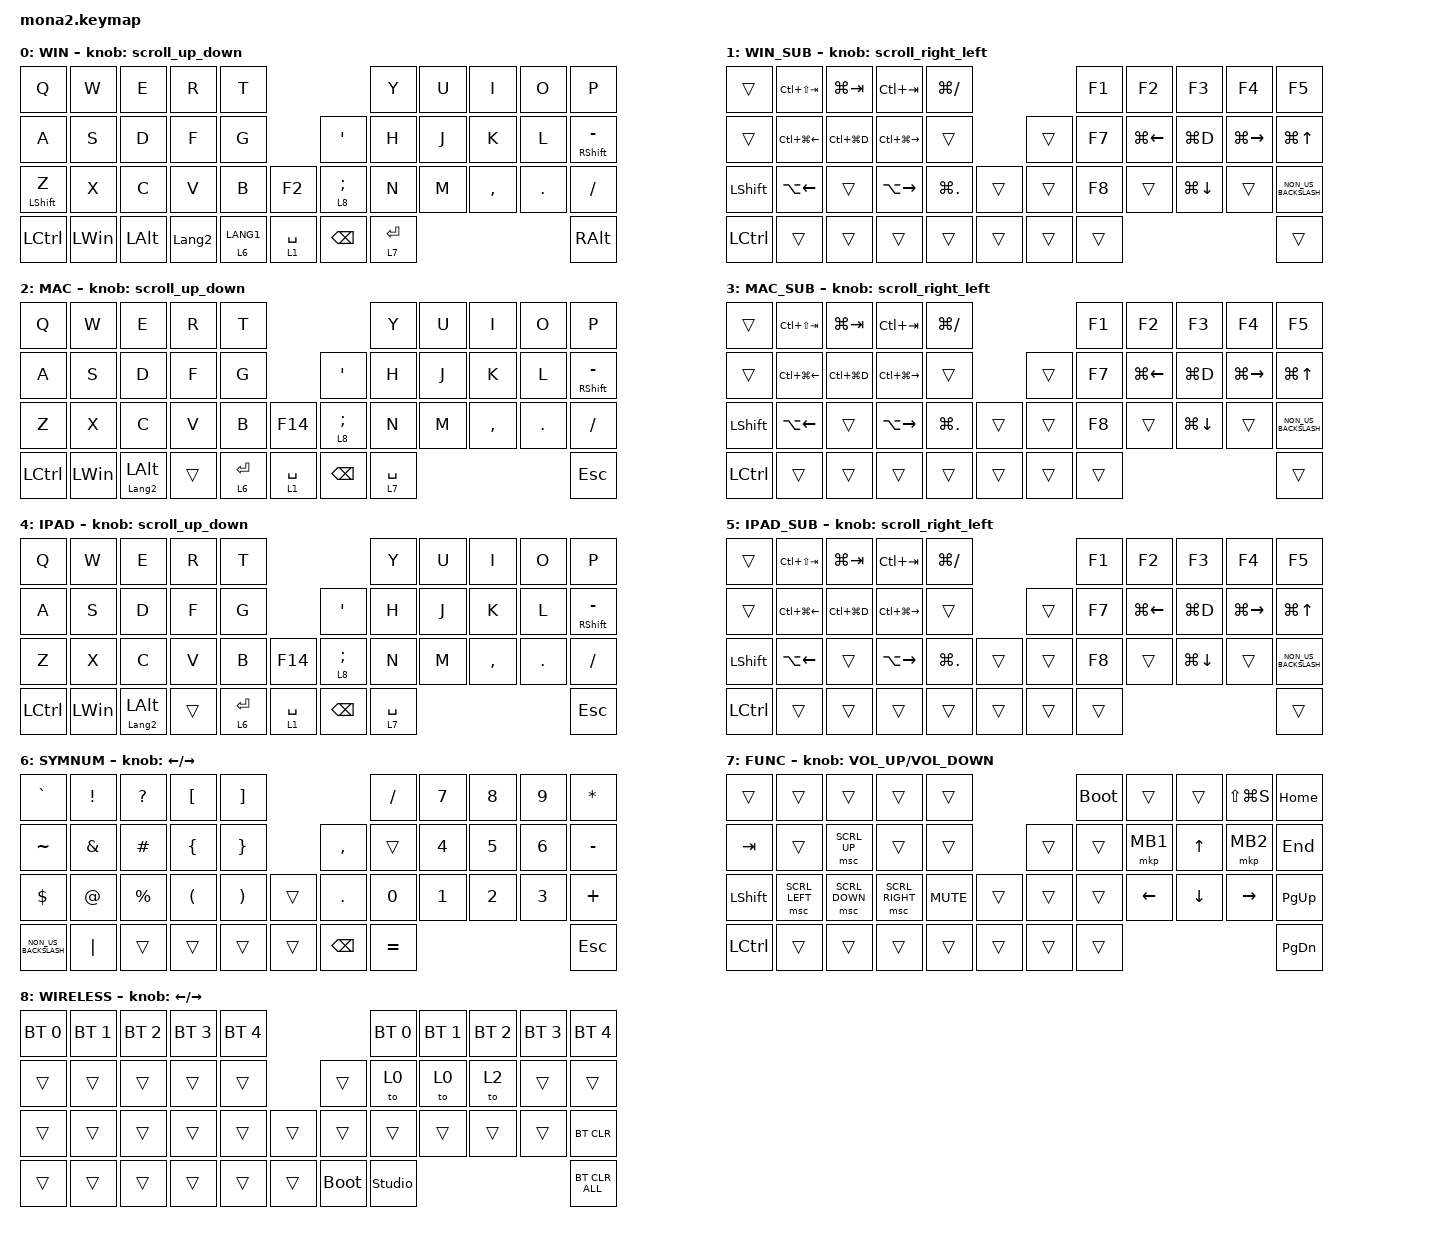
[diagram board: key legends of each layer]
#include <input/processors.dtsi>
#include <dt-bindings/zmk/input_transform.h>
#include <zephyr/dt-bindings/input/input-event-codes.h>
#include <behaviors.dtsi>
#include <dt-bindings/zmk/bt.h>
#include <dt-bindings/zmk/keys.h>
#include <dt-bindings/zmk/pointing.h>

#define ZMK_POINTING_DEFAULT_SCRL_VAL 100
#define MOUSE 5
#define SCROLL 6

&mt {
    flavor = "balanced";
    quick-tap-ms = <0>;
};

&lt {
    quick-tap-ms = <300>;
    flavor = "balanced";
};

/ {
    combos {
        compatible = "zmk,combos";

        esc {
            bindings = <&kp ESCAPE>;
            key-positions = <39 38>;
        };

        tab {
            bindings = <&kp TAB>;
            key-positions = <11 12>;
        };

        DeleteKey {
            bindings = <&kp DELETE>;
            key-positions = <7 8>;
        };

        InsertKey {
            bindings = <&kp INSERT>;
            key-positions = <6 7>;
        };

        LeftClick {
            bindings = <&mkp MB1>;
            key-positions = <17 18>;
        };

        RightClick {
            bindings = <&mkp MB2>;
            key-positions = <18 19>;
        };

        CenterClick {
            bindings = <&mkp MB3>;
            key-positions = <19 20>;
        };

        PrevClick {
            bindings = <&mkp MB4>;
            key-positions = <29 30>;
        };

        ClickNext {
            bindings = <&mkp MB5>;
            key-positions = <30 31>;
        };
    };

    macros {
        to_layer_0: to_layer_0 {
            compatible = "zmk,behavior-macro-one-param";
            #binding-cells = <1>;
            bindings = <&to 0 &macro_param_1to1 &kp MACRO_PLACEHOLDER>;
            label = "TO_LAYER_0";
        };
    };

    behaviors {
        lt_to_layer_0: lt_to_layer_0 {
            compatible = "zmk,behavior-hold-tap";
            label = "LAYER_TAP_TO_0";
            bindings = <&mo>, <&to_layer_0>;

            #binding-cells = <2>;
            tapping-term-ms = <200>;
        };

        scroll_up_down: mouse_wheel_up_down {
            compatible = "zmk,behavior-sensor-rotate";
            #sensor-binding-cells = <0>;
            bindings = <&msc SCRL_UP>, <&msc SCRL_DOWN>;

            tap-ms = <20>;
            label = "scroll_up_down";
        };

        scroll_right_left: mouse_wheel_right_left {
            compatible = "zmk,behavior-sensor-rotate";
            #sensor-binding-cells = <0>;
            bindings = <&msc SCRL_LEFT>, <&msc SCRL_RIGHT>;

            tap-ms = <20>;
            label = "scroll_right_left";
        };
    };

    keymap {
        compatible = "zmk,keymap";

        WIN {
            bindings = <
&kp Q             &kp W         &kp E         &kp R           &kp T                                        &kp Y        &kp U  &kp I      &kp O    &kp P
&kp A             &kp S         &kp D         &kp F           &kp G                       &kp SQT          &kp H        &kp J  &kp K      &kp L    &mt RIGHT_SHIFT MINUS
&mt LEFT_SHIFT Z  &kp X         &kp C         &kp V           &kp B        &kp F2         &lt 8 SEMICOLON  &kp N        &kp M  &kp COMMA  &kp DOT  &kp SLASH
&kp LCTRL         &kp LEFT_WIN  &kp LEFT_ALT  &kp LANGUAGE_2  &lt 6 LANG1  &lt 1 SPACE    &kp BACKSPACE    &lt 7 ENTER                             &kp RIGHT_ALT
            >;

            sensor-bindings = <&scroll_up_down>;
        };

        WIN_SUB {
            bindings = <
&trans          &kp LC(LS(TAB))         &kp LG(TAB)    &kp LC(TAB)              &kp LG(SLASH)                     &kp F1  &kp F2              &kp F3              &kp F4               &kp F5
&trans          &kp LC(LG(LEFT_ARROW))  &kp LC(LG(D))  &kp LC(LG(RIGHT_ARROW))  &trans                    &trans  &kp F7  &kp LG(LEFT_ARROW)  &kp LG(D)           &kp LG(RIGHT_ARROW)  &kp LG(UP_ARROW)
&kp LEFT_SHIFT  &kp LA(LEFT_ARROW)      &trans         &kp LA(RIGHT_ARROW)      &kp LG(PERIOD)  &trans    &trans  &kp F8  &trans              &kp LG(DOWN_ARROW)  &trans               &kp NON_US_BACKSLASH
&kp LCTRL       &trans                  &trans         &trans                   &trans          &trans    &trans  &trans                                                               &trans
            >;

            sensor-bindings = <&scroll_right_left>;
        };

        MAC {
            bindings = <
&kp Q      &kp W         &kp E                    &kp R   &kp T                                        &kp Y        &kp U  &kp I      &kp O    &kp P
&kp A      &kp S         &kp D                    &kp F   &kp G                       &kp SQT          &kp H        &kp J  &kp K      &kp L    &mt RIGHT_SHIFT MINUS
&kp Z      &kp X         &kp C                    &kp V   &kp B        &kp F14        &lt 8 SEMICOLON  &kp N        &kp M  &kp COMMA  &kp DOT  &kp SLASH
&kp LCTRL  &kp LEFT_WIN  &mt LANGUAGE_2 LEFT_ALT  &trans  &lt 6 ENTER  &lt 1 SPACE    &kp BACKSPACE    &lt 7 SPACE                             &kp ESCAPE
            >;

            sensor-bindings = <&scroll_up_down>;
        };

        MAC_SUB {
            bindings = <
&trans          &kp LC(LS(TAB))         &kp LG(TAB)    &kp LC(TAB)              &kp LG(SLASH)                     &kp F1  &kp F2              &kp F3              &kp F4               &kp F5
&trans          &kp LC(LG(LEFT_ARROW))  &kp LC(LG(D))  &kp LC(LG(RIGHT_ARROW))  &trans                    &trans  &kp F7  &kp LG(LEFT_ARROW)  &kp LG(D)           &kp LG(RIGHT_ARROW)  &kp LG(UP_ARROW)
&kp LEFT_SHIFT  &kp LA(LEFT_ARROW)      &trans         &kp LA(RIGHT_ARROW)      &kp LG(PERIOD)  &trans    &trans  &kp F8  &trans              &kp LG(DOWN_ARROW)  &trans               &kp NON_US_BACKSLASH
&kp LCTRL       &trans                  &trans         &trans                   &trans          &trans    &trans  &trans                                                               &trans
            >;

            sensor-bindings = <&scroll_right_left>;
        };

        IPAD {
            bindings = <
&kp Q      &kp W         &kp E                    &kp R   &kp T                                        &kp Y        &kp U  &kp I      &kp O    &kp P
&kp A      &kp S         &kp D                    &kp F   &kp G                       &kp SQT          &kp H        &kp J  &kp K      &kp L    &mt RIGHT_SHIFT MINUS
&kp Z      &kp X         &kp C                    &kp V   &kp B        &kp F14        &lt 8 SEMICOLON  &kp N        &kp M  &kp COMMA  &kp DOT  &kp SLASH
&kp LCTRL  &kp LEFT_WIN  &mt LANGUAGE_2 LEFT_ALT  &trans  &lt 6 ENTER  &lt 1 SPACE    &kp BACKSPACE    &lt 7 SPACE                             &kp ESCAPE
            >;

            sensor-bindings = <&scroll_up_down>;
        };

        IPAD_SUB {
            bindings = <
&trans          &kp LC(LS(TAB))         &kp LG(TAB)    &kp LC(TAB)              &kp LG(SLASH)                     &kp F1  &kp F2              &kp F3              &kp F4               &kp F5
&trans          &kp LC(LG(LEFT_ARROW))  &kp LC(LG(D))  &kp LC(LG(RIGHT_ARROW))  &trans                    &trans  &kp F7  &kp LG(LEFT_ARROW)  &kp LG(D)           &kp LG(RIGHT_ARROW)  &kp LG(UP_ARROW)
&kp LEFT_SHIFT  &kp LA(LEFT_ARROW)      &trans         &kp LA(RIGHT_ARROW)      &kp LG(PERIOD)  &trans    &trans  &kp F8  &trans              &kp LG(DOWN_ARROW)  &trans               &kp NON_US_BACKSLASH
&kp LCTRL       &trans                  &trans         &trans                   &trans          &trans    &trans  &trans                                                               &trans
            >;

            sensor-bindings = <&scroll_right_left>;
        };

        SYMNUM {
            bindings = <
&kp GRAVE             &kp EXCLAMATION  &kp QUESTION  &kp LEFT_BRACKET      &kp RIGHT_BRACKET                               &kp SLASH  &kp N7        &kp N8        &kp N9        &kp ASTERISK
&kp TILDE             &kp AMPERSAND    &kp HASH      &kp LEFT_BRACE        &kp RIGHT_BRACE                  &kp COMMA      &trans     &kp NUMBER_4  &kp N5        &kp NUMBER_6  &kp MINUS
&kp DOLLAR            &kp AT_SIGN      &kp PERCENT   &kp LEFT_PARENTHESIS  &kp RIGHT_PARENTHESIS  &trans    &kp PERIOD     &kp N0     &kp NUMBER_1  &kp NUMBER_2  &kp NUMBER_3  &kp PLUS
&kp NON_US_BACKSLASH  &kp PIPE         &trans        &trans                &trans                 &trans    &kp BACKSPACE  &kp EQUAL                                            &kp ESCAPE
            >;

            sensor-bindings = <&inc_dec_kp LEFT_ARROW RIGHT_ARROW>;
        };

        FUNC {
            bindings = <
&trans          &trans          &trans          &trans           &trans                        &bootloader  &trans          &trans          &kp LS(LG(S))    &kp HOME
&kp TAB         &trans          &msc SCRL_UP    &trans           &trans                &trans  &trans       &mkp MB1        &kp UP_ARROW    &mkp MB2         &kp END
&kp LEFT_SHIFT  &msc SCRL_LEFT  &msc SCRL_DOWN  &msc SCRL_RIGHT  &kp C_MUTE  &trans    &trans  &trans       &kp LEFT_ARROW  &kp DOWN_ARROW  &kp RIGHT_ARROW  &kp PAGE_UP
&kp LCTRL       &trans          &trans          &trans           &trans      &trans    &trans  &trans                                                        &kp PAGE_DOWN
            >;

            sensor-bindings = <&inc_dec_kp C_VOLUME_UP C_VOLUME_DOWN>;
        };

        WIRELESS {
            bindings = <
&bt BT_SEL 0  &bt BT_SEL 1  &bt BT_SEL 2  &bt BT_SEL 3  &bt BT_SEL 4                         &bt BT_SEL 0    &bt BT_SEL 1  &bt BT_SEL 2  &bt BT_SEL 3  &bt BT_SEL 4
&trans        &trans        &trans        &trans        &trans                  &trans       &to 0           &to 0         &to 2         &trans        &trans
&trans        &trans        &trans        &trans        &trans        &trans    &trans       &trans          &trans        &trans        &trans        &bt BT_CLR
&trans        &trans        &trans        &trans        &trans        &trans    &bootloader  &studio_unlock                                            &bt BT_CLR_ALL
            >;

            sensor-bindings = <&inc_dec_kp LEFT_ARROW RIGHT_ARROW>;
        };
    };
};
